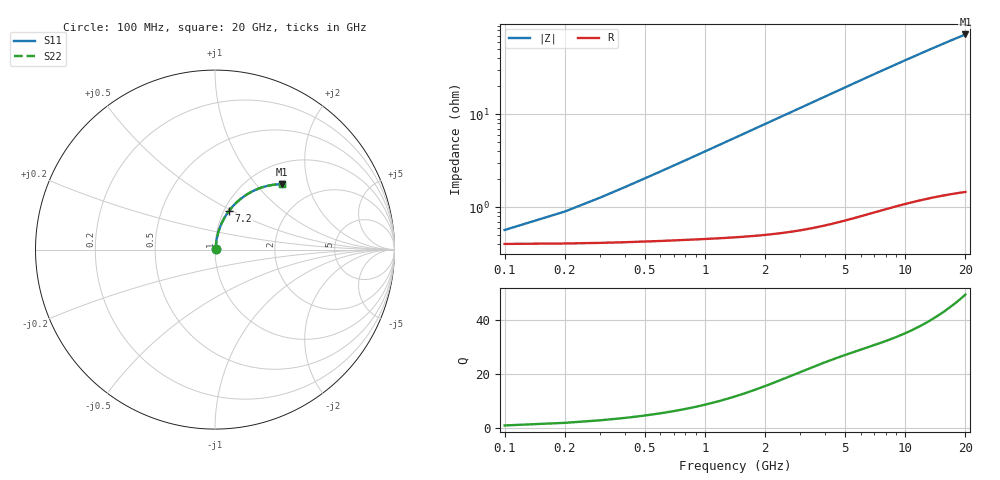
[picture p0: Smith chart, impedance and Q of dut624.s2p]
! Touchstone file exported from HFSS 2026.1.0
!  File:  C:/ffzhzh/LocalFiles/Ansys_Project_Files/temp_train_BSMRDL_624_1783016474_51716.aedt
!  Generated:  02:22:35 AM Jul  3, 2026
!  Design:  BSMRDL
!  Project:  temp_train_BSMRDL_624_1783016474_51716
! Variables:
!  h_bsmrdl = 4.64um
!  h_ox = 20um
!  h_rdl = 5um
!  h_sub = 80um
!  h_tmrdl = 5um
!  h_tsv = 80um
!  h_via = 3um
!  l_bsmrdl = 557.05um
!  l_sub = 957.05um
!  l_tmrdl = 200um
!  m_sub = 200um
!  pitch = 54.69um
!  r_tsv = 6um
!  s_tmrdl = 10um
!  w_bsmrdl = 10.64um
!  w_sub = 500um
!  w_tmrdl = 12um
!  x_tsv_center1 = 206um
!  x_tsv_center2 = 773.69um
!  x_tsv_center3 = 985.69um
!  x_tsv_center4 = 1553.38um
!  x_tsv_center5 = 1765.38um
!  x_tsv_center6 = 2333.07um
# GHz S MA R 50.000000
! Terminal data exported
! Port[1] = BSM_RDL1_1_T1
! Port[2] = BSM_RDL1_1_T2
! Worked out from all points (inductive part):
!   200 points, 100 MHz to 20 GHz, reference 50 ohm
!   read as one part in series: L = 634 pH near 400 MHz
!   highest Q = 49.5 at 20 GHz (marker M1), where L = 575 pH
!   S11 on the Smith chart (normalised r, x): 100 MHz: 1.01, +0.01; 7.2 GHz: 1.06, +0.48; 20 GHz: 1.38, +1.38
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0.1  0.005307 40.5  0.996 -0.3  0.996 -0.3  0.005307 40.5
! Gamma 0 0 0 0
! Port Impedance 50 0 50 0
0.2  0.00802 59.1  0.9959 -0.5  0.9959 -0.5  0.00802 59.1
0.3  0.01114 67.5  0.9958 -0.8  0.9958 -0.8  0.01114 67.5
0.4  0.01438 72.0  0.9957 -1.0  0.9957 -1.0  0.01438 72.0
0.5  0.01767 74.8  0.9956 -1.3  0.9956 -1.3  0.01767 74.8
0.6  0.02098 76.5  0.9955 -1.5  0.9955 -1.5  0.02098 76.5
0.8  0.02761 78.7  0.9952 -2.1  0.9952 -2.1  0.02761 78.7
1.1  0.03759 80.1  0.9947 -2.8  0.9947 -2.8  0.03759 80.1
1.5  0.05089 80.8  0.994 -3.8  0.994 -3.8  0.05088 80.8
1.8  0.06085 80.7  0.9933 -4.6  0.9933 -4.6  0.06084 80.7
2.1  0.07078 80.5  0.9925 -5.4  0.9925 -5.4  0.07078 80.5
2.7  0.09054 79.7  0.9905 -6.9  0.9905 -6.9  0.09054 79.7
3.5  0.1166 78.2  0.9873 -8.9  0.9873 -8.9  0.1166 78.2
4.2  0.139 76.7  0.9839 -10.6  0.9839 -10.6  0.139 76.7
5  0.1642 75.0  0.9794 -12.6  0.9794 -12.6  0.1642 75.0
6.8  0.2188 70.9  0.9674 -16.9  0.9674 -16.9  0.2188 70.9
7.2  0.2305 70.0  0.9645 -17.8  0.9645 -17.8  0.2305 70.0
8.6  0.2704 66.9  0.9533 -21.1  0.9533 -21.1  0.2704 66.9
10.1  0.3109 63.6  0.9402 -24.5  0.9402 -24.5  0.3109 63.6
13.4  0.3921 56.7  0.9085 -31.6  0.9085 -31.6  0.3921 56.8
16.7  0.4621 50.3  0.8747 -38.2  0.8747 -38.2  0.4621 50.3
20  0.5212 44.4  0.841 -44.3  0.841 -44.3  0.5212 44.4
